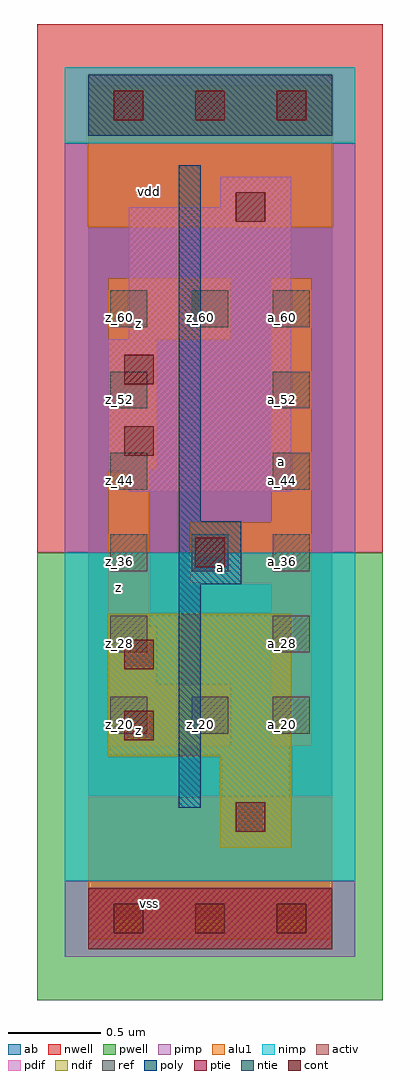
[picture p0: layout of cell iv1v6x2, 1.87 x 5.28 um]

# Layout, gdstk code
import gdstk
lib = gdstk.Library(unit=1e-6, precision=2.5e-09)
def R(c, l, rs):  # rectangles x0, y0, x1, y1
    for r in rs: c.add(gdstk.rectangle(r[:2], r[2:], *l))
def A(c, l, x, y, w, h, nx, ny, dx, dy):  # array of equal rectangles
    R(c, l, [(x+i*dx, y+j*dy, x+i*dx+w, y+j*dy+h) for i in range(nx) for j in range(ny)])
ndif = (3, 0)
pdif = (4, 0)
ntie = (5, 0)
ptie = (6, 0)
ref = (24, 0)
cont = (25, 0)
pwell = (41, 0)
nwell = (42, 0)
activ = (43, 0)
pimp = (44, 0)
nimp = (45, 0)
poly = (46, 0)
alu1 = (49, 0)
ab = (63, 0)

iv1v6x2 = lib.new_cell('iv1v6x2')
R(iv1v6x2, ndif, [(0.715,0.385,1.1,0.88), (0.11,0.88,1.1,1.65)])
R(iv1v6x2, pdif, [(0.22,2.31,1.1,2.42), (0.11,2.42,1.1,3.135), (0.22,3.135,1.1,3.85), (0.715,3.85,1.1,4.015)])
R(iv1v6x2, ntie, [(0,4.235,1.32,4.565)])
R(iv1v6x2, ptie, [(0,-0.165,1.32,0.165)])
A(iv1v6x2, ref, 0.12, 1, 0.2, 0.2, 3, 2, 0.44, 0.88)
A(iv1v6x2, ref, 0.12, 3.2, 0.2, 0.2, 3, 1, 0.44, 0)
R(iv1v6x2, ref, [(0.12,1.44,0.32,1.64), (1,1.44,1.2,1.64), (0.12,2.32,0.32,2.52), (1,2.32,1.2,2.52), (0.12,2.76,0.32,2.96), (1,2.76,1.2,2.96)])
A(iv1v6x2, cont, 0.14, -0.08, 0.16, 0.16, 3, 2, 0.44, 4.4)
R(iv1v6x2, cont, [(0.8,0.47,0.96,0.63), (0.195,0.965,0.355,1.125), (0.195,1.35,0.355,1.51), (0.58,1.9,0.74,2.06), (0.195,2.505,0.355,2.665), (0.195,2.89,0.355,3.05), (0.8,3.77,0.96,3.93)])
R(iv1v6x2, pwell, [(-0.275,-0.44,1.595,1.98)])
R(iv1v6x2, nwell, [(-0.275,1.98,1.595,4.84)])
R(iv1v6x2, activ, [(0,-0.165,1.32,0.165), (0.715,0.385,1.1,0.88), (0.11,0.88,1.1,1.65), (0.22,2.31,1.1,2.42), (0.11,2.42,1.1,3.135), (0.22,3.135,1.1,3.85), (0.715,3.85,1.1,4.015), (0,4.235,1.32,4.565)])
R(iv1v6x2, pimp, [(-0.125,-0.205,1.445,0.205), (-0.125,1.98,1.445,4.195)])
R(iv1v6x2, nimp, [(-0.125,0.205,1.445,1.98), (-0.125,4.195,1.445,4.605)])
R(iv1v6x2, poly, [(0.49,0.6,0.61,1.81), (0.49,1.81,0.83,2.15), (0.49,2.15,0.61,4.075)])
R(iv1v6x2, alu1, [(0,-0.11,1.32,0.66), (0.11,0.935,0.77,1.265), (0.99,0.935,1.21,1.815), (0.11,1.265,0.37,1.58), (0.11,1.58,0.33,2.435), (0.55,1.815,1.21,2.145), (0.99,2.145,1.21,3.465), (0.11,2.435,0.37,3.135), (0.11,3.135,0.77,3.465), (0,3.74,1.32,4.51)])
R(iv1v6x2, ab, [(0,0,1.32,4.4)])
iv1v6x2.add(gdstk.Label('vss', (0.33,0.0825), layer=49, texttype=0))
iv1v6x2.add(gdstk.Label('z', (0.275,1.0175), layer=49, texttype=0))
iv1v6x2.add(gdstk.Label('a', (0.715,1.8975), layer=49, texttype=0))
iv1v6x2.add(gdstk.Label('a', (1.045,2.475), layer=49, texttype=0))
iv1v6x2.add(gdstk.Label('z', (0.165,1.7925), layer=49, texttype=0))
iv1v6x2.add(gdstk.Label('z', (0.275,3.2175), layer=49, texttype=0))
iv1v6x2.add(gdstk.Label('vdd', (0.33,3.9325), layer=49, texttype=0))
iv1v6x2.add(gdstk.Label('z_20', (0.61,1.05), layer=24, texttype=0))
iv1v6x2.add(gdstk.Label('a_36', (0.61,1.93), layer=24, texttype=0))
iv1v6x2.add(gdstk.Label('z_60', (0.61,3.25), layer=24, texttype=0))
iv1v6x2.add(gdstk.Label('a_20', (1.05,1.05), layer=24, texttype=0))
iv1v6x2.add(gdstk.Label('a_28', (1.05,1.49), layer=24, texttype=0))
iv1v6x2.add(gdstk.Label('a_36', (1.05,1.93), layer=24, texttype=0))
iv1v6x2.add(gdstk.Label('a_44', (1.05,2.37), layer=24, texttype=0))
iv1v6x2.add(gdstk.Label('a_52', (1.05,2.81), layer=24, texttype=0))
iv1v6x2.add(gdstk.Label('a_60', (1.05,3.25), layer=24, texttype=0))
iv1v6x2.add(gdstk.Label('z_20', (0.17,1.05), layer=24, texttype=0))
iv1v6x2.add(gdstk.Label('z_28', (0.17,1.49), layer=24, texttype=0))
iv1v6x2.add(gdstk.Label('z_36', (0.17,1.93), layer=24, texttype=0))
iv1v6x2.add(gdstk.Label('z_44', (0.17,2.37), layer=24, texttype=0))
iv1v6x2.add(gdstk.Label('z_52', (0.17,2.81), layer=24, texttype=0))
iv1v6x2.add(gdstk.Label('z_60', (0.17,3.25), layer=24, texttype=0))

lib.write_gds('iv1v6x2.gds')
